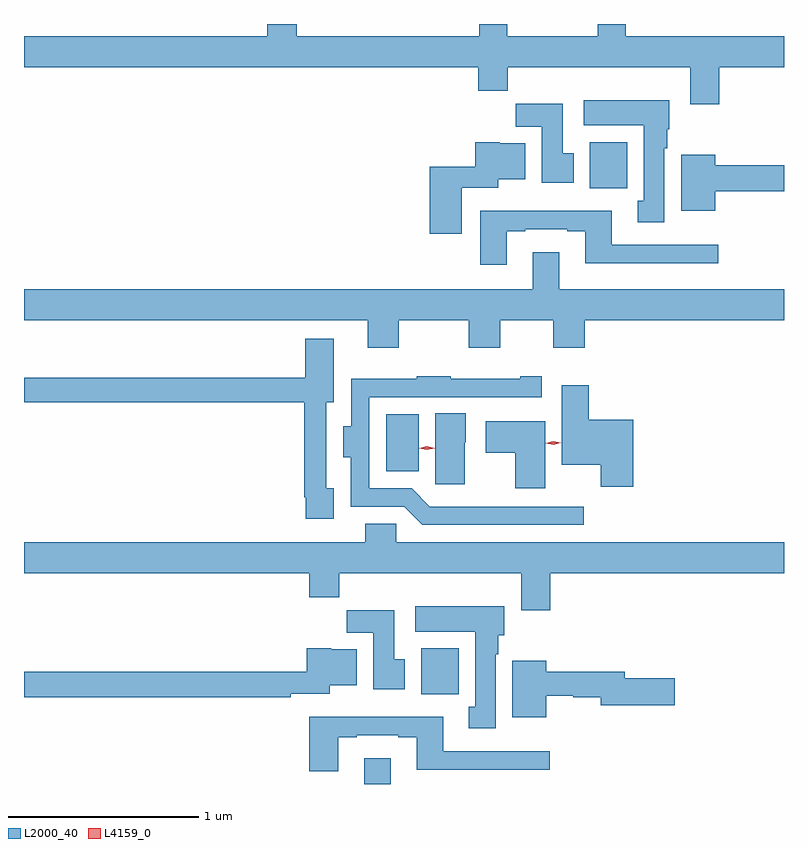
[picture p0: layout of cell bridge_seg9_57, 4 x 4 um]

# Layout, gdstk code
import gdstk
lib = gdstk.Library(unit=1e-6, precision=1e-09)
def R(c, l, rs):  # rectangles x0, y0, x1, y1
    for r in rs: c.add(gdstk.rectangle(r[:2], r[2:], *l))
def P(c, l, *ps):  # polygons
    for p in ps: c.add(gdstk.Polygon(p, *l))
L2000_40 = (2000, 40)
L4159_0 = (4159, 0)

bridge_seg9_57 = lib.new_cell('bridge_seg9_57')
R(bridge_seg9_57, L2000_40, [(1097.609,1183.324,1097.749,1183.459), (1097.909,1183.796,1098.106,1184.038), (1097.726,1184.969,1097.896,1185.271), (1098.797,1186.46,1098.994,1186.702)])
P(bridge_seg9_57, L2000_40, [(1099.478,1187.096),(1099.819,1187.096),(1099.819,1187.26),(1098.985,1187.26),(1098.985,1187.324),(1098.838,1187.324),(1098.838,1187.26),(1098.363,1187.26),(1098.363,1187.324),(1098.215,1187.324),(1098.215,1187.26),(1097.255,1187.26),(1097.255,1187.324),(1097.099,1187.324),(1097.099,1187.26),(1095.819,1187.26),(1095.819,1187.096),(1098.209,1187.096),(1098.209,1186.972),(1098.365,1186.972),(1098.365,1187.096),(1099.325,1187.096),(1099.325,1186.902),(1099.478,1186.902)],
  [(1099.189,1186.67),(1099.204,1186.67),(1099.204,1186.77),(1099.216,1186.77),(1099.216,1186.924),(1098.765,1186.924),(1098.765,1186.79),(1099.082,1186.79),(1099.082,1186.394),(1099.049,1186.394),(1099.049,1186.281),(1099.189,1186.281)],
  [(1098.712,1186.644),(1098.655,1186.644),(1098.655,1186.903),(1098.406,1186.903),(1098.406,1186.784),(1098.545,1186.784),(1098.545,1186.488),(1098.712,1186.488)],
  [(1098.124,1186.463),(1098.316,1186.463),(1098.316,1186.508),(1098.457,1186.508),(1098.457,1186.696),(1098.324,1186.696),(1098.324,1186.702),(1098.194,1186.702),(1098.194,1186.573),(1097.954,1186.573),(1097.954,1186.221),(1098.124,1186.221)],
  [(1099.456,1186.444),(1099.819,1186.444),(1099.819,1186.58),(1099.456,1186.58),(1099.456,1186.636),(1099.277,1186.636),(1099.277,1186.34),(1099.456,1186.34)],
  [(1098.361,1186.233),(1098.457,1186.233),(1098.457,1186.245),(1098.677,1186.245),(1098.677,1186.233),(1098.773,1186.233),(1098.773,1186.064),(1099.474,1186.064),(1099.474,1186.161),(1098.913,1186.161),(1098.913,1186.342),(1098.221,1186.342),(1098.221,1186.056),(1098.361,1186.056)],
  [(1097.791,1185.764),(1098.161,1185.764),(1098.161,1185.621),(1098.325,1185.621),(1098.325,1185.764),(1098.605,1185.764),(1098.605,1185.621),(1098.769,1185.621),(1098.769,1185.764),(1099.819,1185.764),(1099.819,1185.928),(1098.637,1185.928),(1098.637,1186.123),(1098.497,1186.123),(1098.497,1185.928),(1095.819,1185.928),(1095.819,1185.764),(1097.627,1185.764),(1097.627,1185.621),(1097.791,1185.621)],
  [(1097.449,1184.881),(1097.409,1184.881),(1097.409,1185.332),(1097.449,1185.332),(1097.449,1185.667),(1097.3,1185.667),(1097.3,1185.463),(1095.819,1185.463),(1095.819,1185.334),(1097.293,1185.334),(1097.293,1184.833),(1097.301,1184.833),(1097.301,1184.721),(1097.449,1184.721)],
  [(1098.766,1184.784),(1097.955,1184.784),(1097.859,1184.88),(1097.637,1184.88),(1097.637,1185.36),(1098.544,1185.36),(1098.544,1185.469),(1098.431,1185.469),(1098.431,1185.457),(1098.065,1185.457),(1098.065,1185.469),(1097.887,1185.469),(1097.887,1185.457),(1097.541,1185.457),(1097.541,1185.208),(1097.498,1185.208),(1097.498,1185.044),(1097.54,1185.044),(1097.54,1184.784),(1097.82,1184.784),(1097.916,1184.688),(1098.766,1184.688)],
  [(1099.025,1185.241),(1098.791,1185.241),(1098.791,1185.424),(1098.65,1185.424),(1098.65,1185.005),(1098.854,1185.005),(1098.854,1184.889),(1099.025,1184.889)],
  [(1098.139,1185.123),(1098.145,1185.123),(1098.145,1185.275),(1097.984,1185.275),(1097.984,1184.901),(1098.139,1184.901)],
  [(1098.562,1185.232),(1098.249,1185.232),(1098.249,1185.068),(1098.404,1185.068),(1098.404,1184.88),(1098.562,1184.88)],
  [(1098.59,1184.432),(1099.819,1184.432),(1099.819,1184.596),(1097.778,1184.596),(1097.778,1184.694),(1097.615,1184.694),(1097.615,1184.596),(1095.819,1184.596),(1095.819,1184.432),(1097.321,1184.432),(1097.321,1184.308),(1097.477,1184.308),(1097.477,1184.432),(1098.437,1184.432),(1098.437,1184.238),(1098.59,1184.238)],
  [(1098.301,1184.006),(1098.316,1184.006),(1098.316,1184.106),(1098.346,1184.106),(1098.346,1184.26),(1097.877,1184.26),(1097.877,1184.126),(1098.194,1184.126),(1098.194,1183.73),(1098.161,1183.73),(1098.161,1183.617),(1098.301,1183.617)],
  [(1097.824,1183.98),(1097.767,1183.98),(1097.767,1184.239),(1097.518,1184.239),(1097.518,1184.12),(1097.657,1184.12),(1097.657,1183.824),(1097.824,1183.824)],
  [(1097.222,1183.8),(1097.428,1183.8),(1097.428,1183.844),(1097.569,1183.844),(1097.569,1184.032),(1097.436,1184.032),(1097.436,1184.038),(1097.306,1184.038),(1097.306,1183.916),(1095.819,1183.916),(1095.819,1183.78),(1097.222,1183.78)],
  [(1098.568,1183.788),(1098.711,1183.788),(1098.711,1183.78),(1098.854,1183.78),(1098.854,1183.738),(1099.243,1183.738),(1099.243,1183.88),(1098.982,1183.88),(1098.982,1183.916),(1098.568,1183.916),(1098.568,1183.972),(1098.389,1183.972),(1098.389,1183.676),(1098.568,1183.676)],
  [(1097.473,1183.569),(1097.569,1183.569),(1097.569,1183.581),(1097.789,1183.581),(1097.789,1183.569),(1097.885,1183.569),(1097.885,1183.4),(1098.586,1183.4),(1098.586,1183.497),(1098.025,1183.497),(1098.025,1183.678),(1097.321,1183.678),(1097.321,1183.392),(1097.473,1183.392)])
P(bridge_seg9_57, L4159_0, [(1098.606,1185.109),(1098.566,1185.118),(1098.566,1185.118),(1098.566,1185.118),(1098.605,1185.129),(1098.645,1185.121),(1098.645,1185.12),(1098.645,1185.12)],
  [(1097.939,1185.082),(1097.899,1185.091),(1097.899,1185.092),(1097.899,1185.092),(1097.939,1185.102),(1097.98,1185.092),(1097.98,1185.092),(1097.98,1185.091)])

lib.write_gds('bridge_seg9_57.gds')
